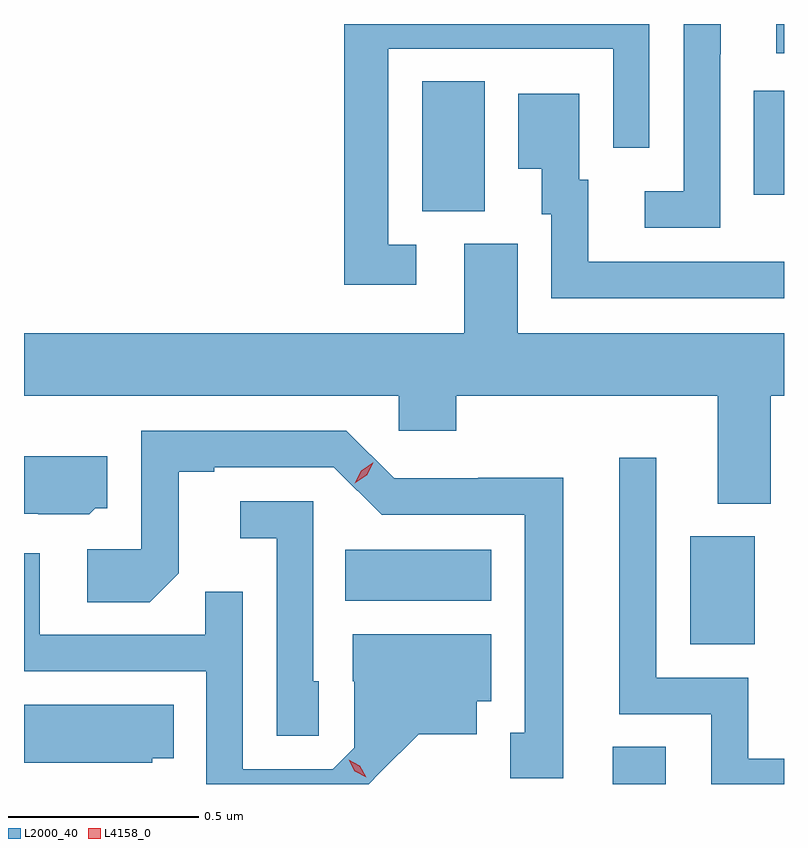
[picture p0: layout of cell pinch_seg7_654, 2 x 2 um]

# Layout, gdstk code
import gdstk
lib = gdstk.Library(unit=1e-6, precision=1e-09)
def R(c, l, rs):  # rectangles x0, y0, x1, y1
    for r in rs: c.add(gdstk.rectangle(r[:2], r[2:], *l))
def P(c, l, *ps):  # polygons
    for p in ps: c.add(gdstk.Polygon(p, *l))
L2000_40 = (2000, 40)
L4158_0 = (4158, 0)

pinch_seg7_654 = lib.new_cell('pinch_seg7_654')
R(pinch_seg7_654, L2000_40, [(151.613,1010.25,151.753,1010.348), (151.817,1010.618,151.987,1010.902), (150.91,1010.732,151.294,1010.866), (151.112,1011.757,151.276,1012.1), (151.985,1011.801,152.064,1012.075), (152.043,1012.173,152.064,1012.25)])
P(pinch_seg7_654, L2000_40, [(151.096,1011.669),(151.023,1011.669),(151.023,1012.185),(151.614,1012.185),(151.614,1011.924),(151.71,1011.924),(151.71,1012.178),(151.709,1012.178),(151.709,1012.25),(150.907,1012.25),(150.907,1011.564),(151.096,1011.564)],
  [(151.896,1012.171),(151.897,1012.171),(151.897,1012.25),(151.8,1012.25),(151.8,1011.81),(151.698,1011.81),(151.698,1011.714),(151.896,1011.714)],
  [(152.064,1011.625),(152.033,1011.625),(152.033,1011.624),(151.549,1011.624),(151.549,1011.84),(151.525,1011.84),(151.525,1012.066),(151.364,1012.066),(151.364,1011.869),(151.427,1011.869),(151.427,1011.75),(151.452,1011.75),(151.452,1011.528),(152.064,1011.528)],
  [(152.029,1011.272),(152.064,1011.272),(152.064,1011.436),(151.363,1011.436),(151.363,1011.672),(151.223,1011.672),(151.223,1011.436),(150.064,1011.436),(150.064,1011.272),(151.05,1011.272),(151.05,1011.179),(151.202,1011.179),(151.202,1011.272),(151.889,1011.272),(151.889,1010.987),(152.029,1010.987)],
  [(151.483,1011.056),(151.26,1011.056),(151.26,1011.054),(151.038,1011.054),(150.912,1011.18),(150.372,1011.18),(150.372,1010.868),(150.231,1010.868),(150.231,1010.728),(150.395,1010.728),(150.471,1010.804),(150.471,1011.072),(150.565,1011.072),(150.565,1011.084),(150.879,1011.084),(151.005,1010.958),(151.382,1010.958),(151.382,1010.385),(151.343,1010.385),(151.343,1010.265),(151.483,1010.265)],
  [(150.252,1010.976),(150.283,1010.976),(150.283,1011.112),(150.064,1011.112),(150.064,1010.961),(150.102,1010.961),(150.102,1010.96),(150.236,1010.96)],
  [(152.064,1010.317),(151.97,1010.317),(151.97,1010.529),(151.728,1010.529),(151.728,1011.109),(151.631,1011.109),(151.631,1010.433),(151.872,1010.433),(151.872,1010.25),(152.064,1010.25)],
  [(150.84,1010.52),(150.825,1010.52),(150.825,1010.994),(150.633,1010.994),(150.633,1010.897),(150.729,1010.897),(150.729,1010.377),(150.84,1010.377)],
  [(151,1010.279),(151.103,1010.381),(151.255,1010.381),(151.255,1010.468),(151.294,1010.468),(151.294,1010.644),(150.929,1010.644),(150.929,1010.52),(150.933,1010.52),(150.933,1010.346),(150.876,1010.289),(150.639,1010.289),(150.639,1010.756),(150.541,1010.756),(150.541,1010.643),(150.105,1010.643),(150.105,1010.857),(150.064,1010.857),(150.064,1010.547),(150.543,1010.547),(150.543,1010.25),(150.971,1010.25)],
  [(150.402,1010.318),(150.458,1010.318),(150.458,1010.458),(150.064,1010.458),(150.064,1010.306),(150.402,1010.306)])
P(pinch_seg7_654, L4158_0, [(150.934,1011.042),(150.934,1011.042),(150.951,1011.075),(150.982,1011.095),(150.983,1011.095),(150.983,1011.095),(150.966,1011.062),(150.935,1011.042)],
  [(150.964,1010.268),(150.934,1010.284),(150.918,1010.314),(150.918,1010.314),(150.918,1010.314),(150.948,1010.298),(150.964,1010.268),(150.964,1010.268)])

lib.write_gds('pinch_seg7_654.gds')
